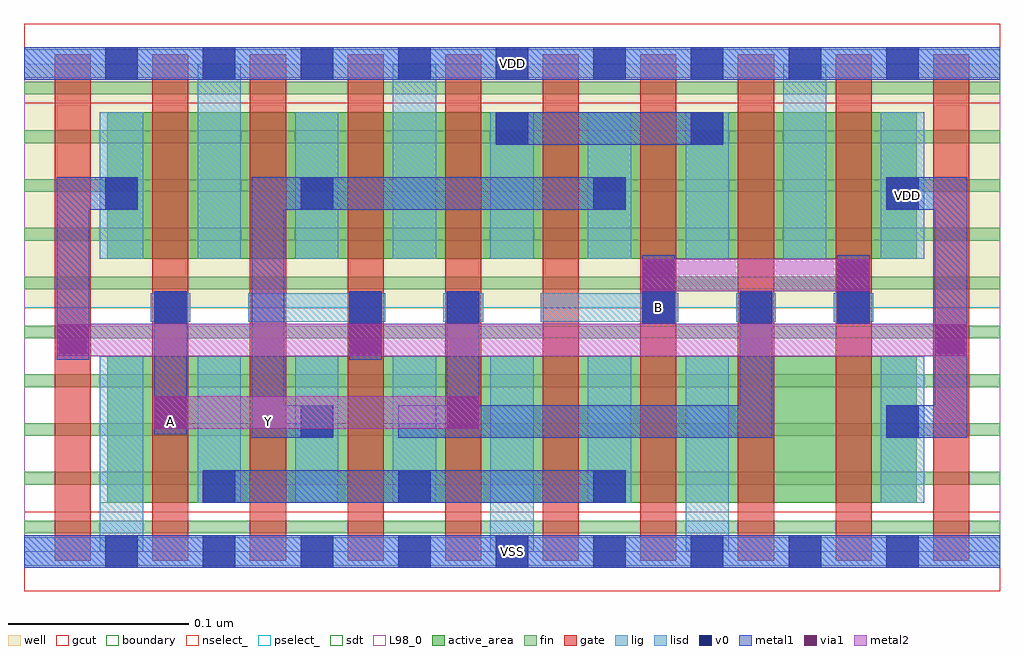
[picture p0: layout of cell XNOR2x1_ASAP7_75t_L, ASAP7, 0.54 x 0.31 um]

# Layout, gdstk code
import gdstk
lib = gdstk.Library(unit=1e-6, precision=2.5e-10)
def R(c, l, rs):  # rectangles x0, y0, x1, y1
    for r in rs: c.add(gdstk.rectangle(r[:2], r[2:], *l))
def A(c, l, x, y, w, h, nx, ny, dx, dy):  # array of equal rectangles
    R(c, l, [(x+i*dx, y+j*dy, x+i*dx+w, y+j*dy+h) for i in range(nx) for j in range(ny)])
def P(c, l, *ps):  # polygons
    for p in ps: c.add(gdstk.Polygon(p, *l))
well = (1, 0)
fin = (2, 0)
gate = (7, 0)
gcut = (10, 0)
active_area = (11, 0)
nselect_ = (12, 0)
pselect_ = (13, 0)
lig = (16, 0)
lisd = (17, 0)
v0 = (18, 0)
metal1 = (19, 0)
metal2 = (20, 0)
via1 = (21, 0)
sdt = (88, 0)
L98_0 = (98, 0)
boundary = (100, 0)

xnor2x1_asap7_75t_l = lib.new_cell('XNOR2x1_ASAP7_75t_L')
R(xnor2x1_asap7_75t_l, well, [(0,0.135,0.54,0.27)])
A(xnor2x1_asap7_75t_l, fin, 0, 0.01, 0.54, 0.007, 1, 10, 0, 0.027)
A(xnor2x1_asap7_75t_l, gate, 0.017, -0.005, 0.02, 0.28, 10, 1, 0.054, 0)
R(xnor2x1_asap7_75t_l, gcut, [(0,-0.022,0.54,0.022), (0,0.248,0.54,0.292)])
R(xnor2x1_asap7_75t_l, active_area, [(0.046,0.027,0.494,0.108), (0.046,0.162,0.494,0.243)])
R(xnor2x1_asap7_75t_l, nselect_, [(0,0,0.54,0.135)])
R(xnor2x1_asap7_75t_l, pselect_, [(0,0.135,0.54,0.27)])
A(xnor2x1_asap7_75t_l, lig, 0.07, 0.127, 0.022, 0.016, 3, 1, 0.162, 0)
R(xnor2x1_asap7_75t_l, lig, [(0,-0.008,0.54,0.008), (0.124,0.127,0.2,0.143), (0.286,0.127,0.362,0.143), (0.448,0.127,0.47,0.143), (0,0.262,0.54,0.278)])
A(xnor2x1_asap7_75t_l, lisd, 0.096, 0.027, 0.024, 0.081, 3, 1, 0.054, 0)
A(xnor2x1_asap7_75t_l, lisd, 0.042, 0.162, 0.024, 0.081, 3, 1, 0.108, 0)
R(xnor2x1_asap7_75t_l, lisd, [(0.042,0,0.066,0.108), (0.258,0,0.282,0.108), (0.366,0,0.39,0.108), (0.312,0.027,0.336,0.108), (0.474,0.027,0.498,0.108), (0.096,0.162,0.12,0.27), (0.204,0.162,0.228,0.27), (0.312,0.162,0.336,0.243), (0.366,0.162,0.39,0.243), (0.42,0.162,0.444,0.27), (0.474,0.162,0.498,0.243)])
A(xnor2x1_asap7_75t_l, v0, 0.045, -0.009, 0.018, 0.018, 9, 2, 0.054, 0.27)
A(xnor2x1_asap7_75t_l, v0, 0.099, 0.027, 0.018, 0.018, 3, 1, 0.108, 0)
A(xnor2x1_asap7_75t_l, v0, 0.342, 0.126, 0.018, 0.018, 3, 1, 0.054, 0)
A(xnor2x1_asap7_75t_l, v0, 0.153, 0.189, 0.018, 0.018, 3, 1, 0.162, 0)
R(xnor2x1_asap7_75t_l, v0, [(0.153,0.063,0.171,0.081), (0.477,0.063,0.495,0.081), (0.072,0.126,0.09,0.144), (0.18,0.126,0.198,0.144), (0.234,0.126,0.252,0.144), (0.045,0.189,0.063,0.207), (0.261,0.225,0.279,0.243), (0.369,0.225,0.387,0.243)])
R(xnor2x1_asap7_75t_l, metal1, [(0,-0.009,0.54,0.009), (0.099,0.027,0.333,0.045), (0.072,0.065,0.09,0.144), (0.18,0.106,0.198,0.144), (0.342,0.126,0.36,0.164), (0.45,0.126,0.468,0.164), (0.261,0.225,0.387,0.243), (0,0.261,0.54,0.279)])
P(xnor2x1_asap7_75t_l, metal1, [(0.414,0.144),(0.396,0.144),(0.396,0.081),(0.252,0.081),(0.252,0.144),(0.234,0.144),(0.234,0.081),(0.207,0.081),(0.207,0.063),(0.414,0.063)],
  [(0.477,0.207),(0.477,0.189),(0.504,0.189),(0.504,0.081),(0.477,0.081),(0.477,0.063),(0.522,0.063),(0.522,0.207)],
  [(0.171,0.081),(0.144,0.081),(0.144,0.189),(0.333,0.189),(0.333,0.207),(0.126,0.207),(0.126,0.063),(0.171,0.063)],
  [(0.036,0.189),(0.063,0.189),(0.063,0.207),(0.018,0.207),(0.018,0.106),(0.036,0.106)])
R(xnor2x1_asap7_75t_l, metal2, [(0.072,0.068,0.252,0.086), (0.018,0.108,0.522,0.126), (0.342,0.144,0.468,0.162)])
R(xnor2x1_asap7_75t_l, via1, [(0.072,0.068,0.09,0.086), (0.234,0.068,0.252,0.086), (0.018,0.108,0.036,0.126), (0.18,0.108,0.198,0.126), (0.504,0.108,0.522,0.126), (0.342,0.144,0.36,0.162), (0.45,0.144,0.468,0.162)])
A(xnor2x1_asap7_75t_l, sdt, 0.042, 0.027, 0.024, 0.081, 7, 1, 0.054, 0)
A(xnor2x1_asap7_75t_l, sdt, 0.042, 0.162, 0.024, 0.081, 9, 1, 0.054, 0)
R(xnor2x1_asap7_75t_l, sdt, [(0.474,0.027,0.498,0.108)])
R(xnor2x1_asap7_75t_l, L98_0, [(0,0,0.54,0.27)])
R(xnor2x1_asap7_75t_l, boundary, [(0,0,0.54,0.27)])
xnor2x1_asap7_75t_l.add(gdstk.Label('Y', (0.135,0.072), layer=19, texttype=251))
xnor2x1_asap7_75t_l.add(gdstk.Label('B', (0.351,0.135), layer=19, texttype=251))
xnor2x1_asap7_75t_l.add(gdstk.Label('A', (0.081,0.072), layer=19, texttype=251))
xnor2x1_asap7_75t_l.add(gdstk.Label('VSS', (0.27,0), layer=19, texttype=251))
xnor2x1_asap7_75t_l.add(gdstk.Label('VDD', (0.27,0.27), layer=19, texttype=251))
xnor2x1_asap7_75t_l.add(gdstk.Label('VDD', (0.489,0.197), layer=1, texttype=251))
xnor2x1_asap7_75t_l.add(gdstk.Label('VSS', (0.592,0.197), layer=3, texttype=251))

lib.write_gds('XNOR2x1_ASAP7_75t_L.gds')
